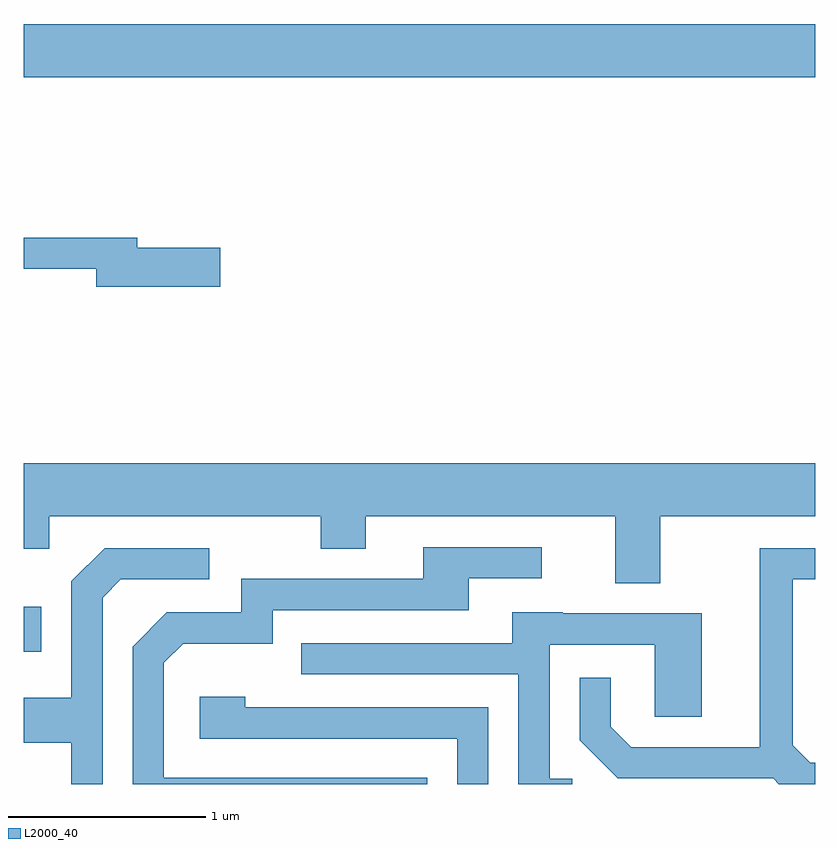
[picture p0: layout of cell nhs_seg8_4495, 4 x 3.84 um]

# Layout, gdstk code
import gdstk
lib = gdstk.Library(unit=1e-6, precision=1e-09)
def R(c, l, rs):  # rectangles x0, y0, x1, y1
    for r in rs: c.add(gdstk.rectangle(r[:2], r[2:], *l))
def P(c, l, *ps):  # polygons
    for p in ps: c.add(gdstk.Polygon(p, *l))
L2000_40 = (2000, 40)

nhs_seg8_4495 = lib.new_cell('nhs_seg8_4495')
R(nhs_seg8_4495, L2000_40, [(319.611,1889.011,319.699,1889.239), (319.611,1891.916,323.611,1892.184)])
P(nhs_seg8_4495, L2000_40, [(320.604,1891.054),(320.184,1891.054),(320.184,1891.104),(319.611,1891.104),(319.611,1890.946),(319.976,1890.946),(319.976,1890.856),(320.604,1890.856)],
  [(322.829,1889.696),(323.611,1889.696),(323.611,1889.964),(319.611,1889.964),(319.611,1889.531),(319.739,1889.531),(319.739,1889.696),(321.111,1889.696),(321.111,1889.531),(321.339,1889.531),(321.339,1889.696),(322.601,1889.696),(322.601,1889.356),(322.829,1889.356)],
  [(321.649,1888.374),(320.319,1888.374),(320.319,1888.954),(320.417,1889.051),(320.869,1889.051),(320.869,1889.221),(321.859,1889.221),(321.859,1889.381),(322.228,1889.381),(322.228,1889.539),(321.631,1889.539),(321.631,1889.379),(320.711,1889.379),(320.711,1889.209),(320.334,1889.209),(320.161,1889.037),(320.161,1888.342),(321.649,1888.342)],
  [(323.611,1888.449),(323.587,1888.449),(323.499,1888.537),(323.499,1889.376),(323.611,1889.376),(323.611,1889.534),(323.331,1889.534),(323.331,1888.529),(322.682,1888.529),(322.579,1888.632),(322.579,1888.878),(322.421,1888.878),(322.421,1888.564),(322.614,1888.371),(323.399,1888.371),(323.428,1888.342),(323.611,1888.342)],
  [(320.009,1889.284),(320.102,1889.376),(320.548,1889.376),(320.548,1889.534),(320.019,1889.534),(319.851,1889.367),(319.851,1888.779),(319.611,1888.779),(319.611,1888.551),(319.851,1888.551),(319.851,1888.342),(320.009,1888.342)],
  [(322.383,1888.369),(322.269,1888.369),(322.269,1889.046),(322.801,1889.046),(322.801,1888.681),(323.039,1888.681),(323.039,1889.204),(322.335,1889.204),(322.335,1889.209),(322.081,1889.209),(322.081,1889.054),(321.013,1889.054),(321.013,1888.896),(322.111,1888.896),(322.111,1888.342),(322.383,1888.342)],
  [(321.959,1888.729),(320.729,1888.729),(320.729,1888.784),(320.501,1888.784),(320.501,1888.571),(321.801,1888.571),(321.801,1888.342),(321.959,1888.342)])

lib.write_gds('nhs_seg8_4495.gds')
